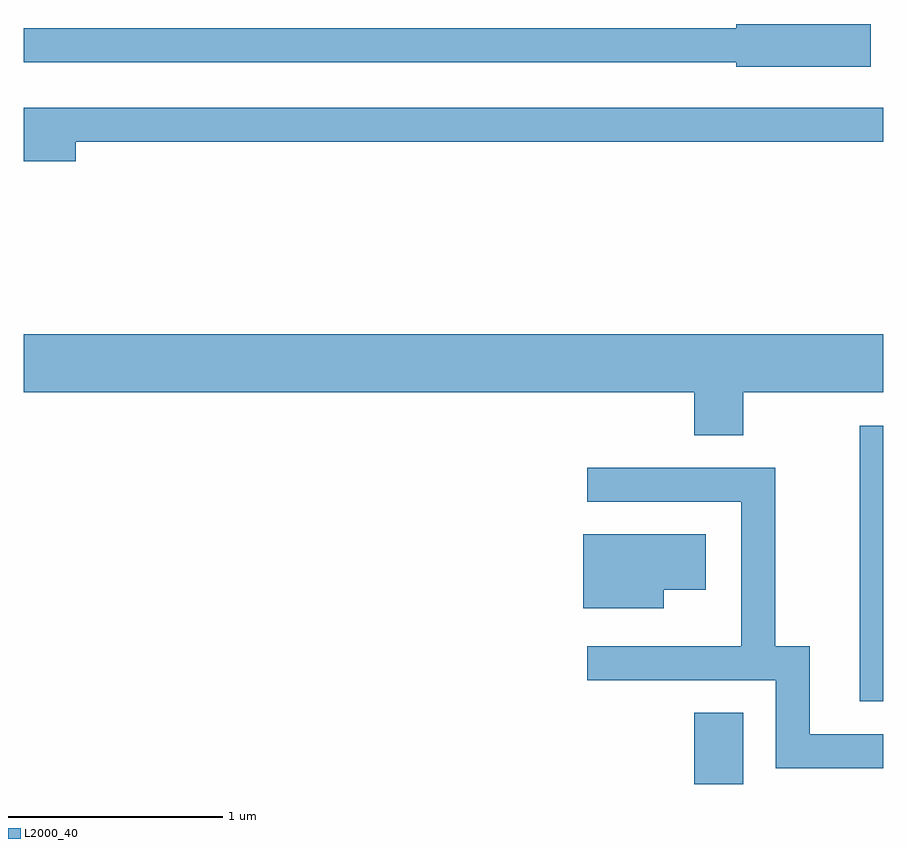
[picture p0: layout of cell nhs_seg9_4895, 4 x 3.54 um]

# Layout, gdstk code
import gdstk
lib = gdstk.Library(unit=1e-6, precision=1e-09)
def R(c, l, rs):  # rectangles x0, y0, x1, y1
    for r in rs: c.add(gdstk.rectangle(r[:2], r[2:], *l))
def P(c, l, *ps):  # polygons
    for p in ps: c.add(gdstk.Polygon(p, *l))
L2000_40 = (2000, 40)

nhs_seg9_4895 = lib.new_cell('nhs_seg9_4895')
R(nhs_seg9_4895, L2000_40, [(332.731,1994.432,332.959,1994.764), (333.501,1994.816,333.611,1996.099)])
P(nhs_seg9_4895, L2000_40, [(333.554,1997.969),(332.926,1997.969),(332.926,1997.949),(329.611,1997.949),(329.611,1997.791),(332.926,1997.791),(332.926,1997.771),(333.554,1997.771)],
  [(329.854,1997.421),(333.611,1997.421),(333.611,1997.579),(329.611,1997.579),(329.611,1997.331),(329.854,1997.331)],
  [(332.959,1996.256),(333.611,1996.256),(333.611,1996.524),(329.611,1996.524),(329.611,1996.256),(332.731,1996.256),(332.731,1996.056),(332.959,1996.056)],
  [(333.611,1994.664),(333.269,1994.664),(333.269,1995.074),(333.109,1995.074),(333.109,1995.904),(332.233,1995.904),(332.233,1995.746),(332.951,1995.746),(332.951,1995.074),(332.233,1995.074),(332.233,1994.916),(333.111,1994.916),(333.111,1994.506),(333.611,1994.506)],
  [(332.589,1995.336),(332.784,1995.336),(332.784,1995.594),(332.216,1995.594),(332.216,1995.251),(332.589,1995.251)])

lib.write_gds('nhs_seg9_4895.gds')
